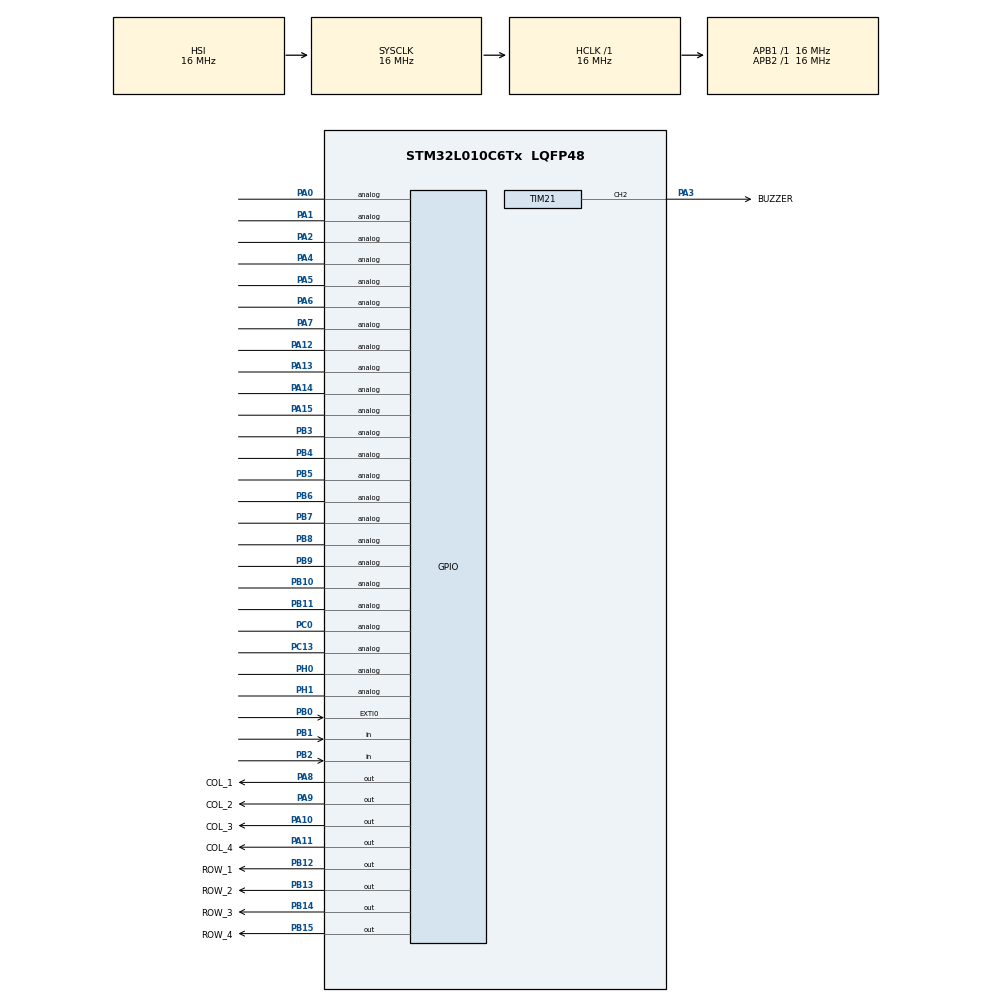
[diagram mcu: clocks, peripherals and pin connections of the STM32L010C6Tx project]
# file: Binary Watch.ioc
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Mcu.Family=STM32L0
Mcu.Name=STM32L010C6Tx
Mcu.Package=LQFP48
NVIC.EXTI0_1_IRQn=true\:0\:0\:false\:false\:true\:true\:true\:true
NVIC.RCC_IRQn=true\:0\:0\:false\:false\:true\:true\:false\:true
NVIC.RTC_IRQn=true\:0\:0\:false\:false\:true\:true\:true\:true
NVIC.TIM21_IRQn=true\:0\:0\:false\:false\:true\:true\:true\:true
NVIC.TIM2_IRQn=true\:0\:0\:false\:false\:true\:true\:true\:true
PA0.Signal=GPIO_Analog
PA1.Signal=GPIO_Analog
PA10.GPIO_Label=COL_3
PA10.GPIO_Speed=GPIO_SPEED_FREQ_HIGH
PA10.PinState=GPIO_PIN_SET
PA10.Signal=GPIO_Output
PA11.GPIO_Label=COL_4
PA11.GPIO_Speed=GPIO_SPEED_FREQ_HIGH
PA11.PinState=GPIO_PIN_SET
PA11.Signal=GPIO_Output
PA12.Signal=GPIO_Analog
PA13.Signal=GPIO_Analog
PA14.Signal=GPIO_Analog
PA15.Signal=GPIO_Analog
PA2.Signal=GPIO_Analog
PA3.GPIO_Label=BUZZER
PA3.GPIO_PuPd=GPIO_PULLDOWN
PA3.GPIO_Speed=GPIO_SPEED_FREQ_MEDIUM
PA3.Signal=S_TIM21_CH2
PA4.Signal=GPIO_Analog
PA5.Signal=GPIO_Analog
PA6.Signal=GPIO_Analog
PA7.Signal=GPIO_Analog
PA8.GPIO_Label=COL_1
PA8.GPIO_Speed=GPIO_SPEED_FREQ_HIGH
PA8.PinState=GPIO_PIN_SET
PA8.Signal=GPIO_Output
PA9.GPIO_Label=COL_2
PA9.GPIO_Speed=GPIO_SPEED_FREQ_HIGH
PA9.PinState=GPIO_PIN_SET
PA9.Signal=GPIO_Output
PB0.GPIO_ModeDefaultEXTI=GPIO_MODE_IT_FALLING
PB0.GPIO_PuPd=GPIO_PULLUP
PB0.Signal=GPXTI0
PB1.GPIO_PuPd=GPIO_PULLUP
PB1.Signal=GPIO_Input
PB10.Signal=GPIO_Analog
PB11.Signal=GPIO_Analog
PB12.GPIO_Label=ROW_1
PB12.GPIO_Speed=GPIO_SPEED_FREQ_HIGH
PB12.PinState=GPIO_PIN_RESET
PB12.Signal=GPIO_Output
PB13.GPIO_Label=ROW_2
PB13.GPIO_Speed=GPIO_SPEED_FREQ_HIGH
PB13.PinState=GPIO_PIN_RESET
PB13.Signal=GPIO_Output
PB14.GPIO_Label=ROW_3
PB14.GPIO_Speed=GPIO_SPEED_FREQ_HIGH
PB14.PinState=GPIO_PIN_RESET
PB14.Signal=GPIO_Output
PB15.GPIO_Label=ROW_4
PB15.GPIO_Speed=GPIO_SPEED_FREQ_HIGH
PB15.PinState=GPIO_PIN_RESET
PB15.Signal=GPIO_Output
PB2.GPIO_PuPd=GPIO_PULLUP
PB2.Signal=GPIO_Input
PB3.Signal=GPIO_Analog
PB4.Signal=GPIO_Analog
PB5.Signal=GPIO_Analog
PB6.Signal=GPIO_Analog
PB7.Signal=GPIO_Analog
PB8.Signal=GPIO_Analog
PB9.Signal=GPIO_Analog
PC0.Signal=GPIO_Analog
PC13-ANTI_TAMP.Signal=GPIO_Analog
PC14-OSC32_IN.Mode=LSE-External-Oscillator
PC14-OSC32_IN.Signal=RCC_OSC32_IN
PC15-OSC32_OUT.Mode=LSE-External-Oscillator
PC15-OSC32_OUT.Signal=RCC_OSC32_OUT
PH0-OSC_IN.Signal=GPIO_Analog
PH1-OSC_OUT.Signal=GPIO_Analog
ProjectManager.HeapSize=0x200
ProjectManager.StackSize=0x400
ProjectManager.TargetToolchain=STM32CubeIDE
RCC.AHBFreq_Value=16000000
RCC.APB1Freq_Value=16000000
RCC.APB1TimFreq_Value=16000000
RCC.APB2Freq_Value=16000000
RCC.APB2TimFreq_Value=16000000
RCC.HCLKFreq_Value=16000000
RCC.HSE_VALUE=8000000
RCC.HSI16_VALUE=16000000
RCC.HSI_VALUE=16000000
RCC.MSI_VALUE=2097000
RCC.RTCClockSelectionVirtual=RCC_RTCCLKSOURCE_LSE
RCC.SYSCLKFreq_VALUE=16000000
RCC.SYSCLKSource=RCC_SYSCLKSOURCE_HSI
RCC.VCOOutputFreq_Value=48000000
RTC.Alarm-Alarm\ A=RTC_ALARM_A
RTC.Date=1
RTC.Format=RTC_FORMAT_BIN
RTC.Hours=0
RTC.Minutes=0
RTC.Month=RTC_MONTH_JANUARY
RTC.Year=0
SH.S_TIM21_CH2.0=TIM21_CH2,PWM Generation2 CH2
TIM2.AutoReloadPreload=TIM_AUTORELOAD_PRELOAD_ENABLE
TIM2.Period=1000-1
TIM2.Prescaler=16-1
TIM21.AutoReloadPreload=TIM_AUTORELOAD_PRELOAD_ENABLE
TIM21.Channel-PWM\ Generation2\ CH2=TIM_CHANNEL_2
TIM21.Period=499
TIM21.Prescaler=7
VP_RTC_VS_RTC_Activate.Mode=RTC_Enabled
VP_RTC_VS_RTC_Alarm_A_Intern.Mode=Alarm A
VP_RTC_VS_RTC_Calendar.Mode=RTC_Calendar
VP_TIM21_VS_ClockSourceINT.Mode=Internal
VP_TIM2_VS_ClockSourceINT.Mode=Internal
board=custom

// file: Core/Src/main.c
/* USER CODE BEGIN Header */
/**
  ******************************************************************************
  * @file           : main.c
  * @brief          : Main program body
  ******************************************************************************
  * @attention
  *
  * Copyright (c) 2026 STMicroelectronics.
  * All rights reserved.
  *
  * This software is licensed under terms that can be found in the LICENSE file
  * in the root directory of this software component.
  * If no LICENSE file comes with this software, it is provided AS-IS.
  *
  ******************************************************************************
  */
/* USER CODE END Header */
#include "main.h"

/* USER CODE BEGIN PTD */
typedef enum
{
    SCREEN_TIME,
    SCREEN_DATE,
    SCREEN_YEAR,
	SCREEN_ALARM
} DisplayScreen_t;

typedef enum
{
    MODE_NORMAL,
    MODE_SET_HOUR,
    MODE_SET_MINUTE,
    MODE_SET_WEEKDAY,
    MODE_SET_DATE,
    MODE_SET_MONTH,
    MODE_SET_YEAR,
	MODE_SET_ALARM_HOUR,
	MODE_SET_ALARM_MINUTE
} WatchMode_t;
/* USER CODE END PTD */

/* USER CODE BEGIN PD */
uint8_t matrix[4][4]; // 2D array for display

uint8_t hour_tens;
uint8_t hour_ones;
uint8_t min_tens;
uint8_t min_ones;

uint8_t day_tens;
uint8_t day_ones;
uint8_t date_tens;
uint8_t date_ones;

uint8_t year_tens;
uint8_t year_ones;
uint8_t month_tens;
uint8_t month_ones;

uint8_t editHour;
uint8_t editMinute;
uint8_t editWeekday;
uint8_t editDate;
uint8_t editMonth;
uint8_t editYear;

uint8_t alarmHour = 0;
uint8_t alarmMinute = 0;
uint8_t editAlarmHour;
uint8_t editAlarmMinute;
uint8_t alarmEnabled = 0;
uint8_t alarmActive = 0;        // Alarm currently sounding
uint32_t alarmStartTime = 0;    // When the alarm started
uint32_t alarmTimer = 0;        // Timing between beeps
uint8_t beepCount = 0;          // 0..3 beeps in the current burst
uint8_t buzzerOn = 0;           // 0 = OFF, 1 = ON

uint32_t displayTimeout = 0;
uint8_t displayEnabled = 0;

uint32_t buttonPressTime[3] = {0};
uint8_t buttonPressed[3] = {0};
uint32_t lastButtonInterrupt[3] = {0};   // debounce timer

uint8_t settingMode = 0;
/* USER CODE END PD */

RTC_HandleTypeDef hrtc;

TIM_HandleTypeDef htim2;
TIM_HandleTypeDef htim21;

void SystemClock_Config(void);
static void MX_GPIO_Init(void);
static void MX_RTC_Init(void);
static void MX_TIM2_Init(void);
static void MX_TIM21_Init(void);

/* USER CODE BEGIN 0 */

/*
 * Store the pattern in memory matrix
 * The digit and the column where to print is sent.
 * Then the row is selected by the AND operation and check if the output is true or false (1 or 0)
 * 		digit = 6 = 0110
 * 		0110 * 1000 = 0 so the 8th bit row will turn off
 * 		0110 * 0100 = 1 so the 4th bit row will turn on
 * 		0110 * 0010 = 1 so the 2nd bit row will turn on
 * 		0110 * 0001 = 0 so the 1st bit row will turn off
 */
void SetColumnMem(uint8_t col, uint8_t digit)
{
    matrix[0][col] = (digit & 0x08) ? 1 : 0; // 8
    matrix[1][col] = (digit & 0x04) ? 1 : 0; // 4
    matrix[2][col] = (digit & 0x02) ? 1 : 0; // 2
    matrix[3][col] = (digit & 0x01) ? 1 : 0; // 1
}

// Turn off LEDs before the next pattern
void DisableAllColumns(void)
{
    HAL_GPIO_WritePin(GPIOA, COL_1_Pin, GPIO_PIN_SET);
    HAL_GPIO_WritePin(GPIOA, COL_2_Pin, GPIO_PIN_SET);
    HAL_GPIO_WritePin(GPIOA, COL_3_Pin, GPIO_PIN_SET);
    HAL_GPIO_WritePin(GPIOA, COL_4_Pin, GPIO_PIN_SET);
}

//------ Convert the patter stored in memory to GPIO ---------

/*
 * Check each matrix to see which row is to be set or reset.
 * if matrix[0][1] is set then set the row 4 pin
 */
void SetRows(uint8_t col)
{
    HAL_GPIO_WritePin(GPIOB, ROW_1_Pin,
        matrix[0][col] ? GPIO_PIN_SET : GPIO_PIN_RESET);

    HAL_GPIO_WritePin(GPIOB, ROW_2_Pin,
        matrix[1][col] ? GPIO_PIN_SET : GPIO_PIN_RESET);

    HAL_GPIO_WritePin(GPIOB, ROW_3_Pin,
        matrix[2][col] ? GPIO_PIN_SET : GPIO_PIN_RESET);

    HAL_GPIO_WritePin(GPIOB, ROW_4_Pin,
        matrix[3][col] ? GPIO_PIN_SET : GPIO_PIN_RESET);
}

// Reset the column based on the user column entry
void SetColumn(uint8_t col)
{
    switch(col)
    {
        case 0:
            HAL_GPIO_WritePin(GPIOA, COL_1_Pin, GPIO_PIN_RESET);
            break;

        case 1:
            HAL_GPIO_WritePin(GPIOA, COL_2_Pin, GPIO_PIN_RESET);
            break;

        case 2:
            HAL_GPIO_WritePin(GPIOA, COL_3_Pin, GPIO_PIN_RESET);
            break;

        case 3:
            HAL_GPIO_WritePin(GPIOA, COL_4_Pin, GPIO_PIN_RESET);
            break;
    }
}

void getTime(void)
{
	RTC_TimeTypeDef sTime;
	RTC_DateTypeDef sDate;

    /* Get the RTC current Time */
	HAL_RTC_GetTime(&hrtc, &sTime, RTC_FORMAT_BIN);
	/* Get the RTC current Date */
    HAL_RTC_GetDate(&hrtc, &sDate, RTC_FORMAT_BIN);

    hour_tens = sTime.Hours / 10;
    hour_ones = sTime.Hours % 10;
    min_tens  = sTime.Minutes / 10;
    min_ones  = sTime.Minutes % 10;

    // HH : MM
    SetColumnMem(0, hour_tens);
    SetColumnMem(1, hour_ones);
    SetColumnMem(2, min_tens);
    SetColumnMem(3, min_ones);
}

void getDate(void)
{
	RTC_TimeTypeDef sTime;
	RTC_DateTypeDef sDate;

    /* Get the RTC current Time */
	HAL_RTC_GetTime(&hrtc, &sTime, RTC_FORMAT_BIN);
	/* Get the RTC current Date */
    HAL_RTC_GetDate(&hrtc, &sDate, RTC_FORMAT_BIN);

    day_tens = sDate.WeekDay / 10;
    day_ones = sDate.WeekDay % 10;
    date_tens  = sDate.Date / 10;
    date_ones  = sDate.Date % 10;

    // WD : DD
    SetColumnMem(0, day_tens);
    SetColumnMem(1, day_ones);
    SetColumnMem(2, date_tens);
    SetColumnMem(3, date_ones);
}

void getYear(void)
{
	RTC_TimeTypeDef sTime;
	RTC_DateTypeDef sDate;

    /* Get the RTC current Time */
	HAL_RTC_GetTime(&hrtc, &sTime, RTC_FORMAT_BIN);
	/* Get the RTC current Date */
    HAL_RTC_GetDate(&hrtc, &sDate, RTC_FORMAT_BIN);

    month_tens = sDate.Month / 10;
    month_ones = sDate.Month % 10;
    year_tens  = sDate.Year / 10;
    year_ones  = sDate.Year % 10;

    // MM : YY
    SetColumnMem(0, month_tens);
    SetColumnMem(1, month_ones);
    SetColumnMem(2, year_tens);
    SetColumnMem(3, year_ones);
}

/*
 * Initialize the enum with default screen and mode and change the enum to enter the different modes.
 * See the functions below for more info
 */
DisplayScreen_t currentScreen = SCREEN_YEAR;
WatchMode_t currentMode = MODE_NORMAL;

/*
 * Entering to setting mode based on the screens
 * So if the currentScreen is SCREEN_TIME
 * then it should go into MODE_SET_HOUR to change the hour.
*/
void EnterSettingMode(void)
{
    RTC_TimeTypeDef sTime;
    RTC_DateTypeDef sDate;

    HAL_RTC_GetTime(&hrtc, &sTime, RTC_FORMAT_BIN);
    HAL_RTC_GetDate(&hrtc, &sDate, RTC_FORMAT_BIN);

    editHour = sTime.Hours;
    editMinute = sTime.Minutes;

    editWeekday = sDate.WeekDay;
    editDate = sDate.Date;

    editMonth = sDate.Month;
    editYear = sDate.Year;

    switch(currentScreen) // Check the currentScreen typedef and enter the appropriate setting modes
    {
        case SCREEN_TIME:
            currentMode = MODE_SET_HOUR; // Change the Hours
            break;

        case SCREEN_DATE:
            currentMode = MODE_SET_WEEKDAY; // Change the Weekday
            break;

        case SCREEN_YEAR:
            currentMode = MODE_SET_MONTH; // Change the month
            break;

        case SCREEN_ALARM:

            editAlarmHour = alarmHour;
            editAlarmMinute = alarmMinute;
            currentMode = MODE_SET_ALARM_HOUR;
            break;
    }
}

/*
 * Once we are inside setting a particular mode then we need to change the mode
 * to set the other field.
 * So after setting the hour we need to set the minutes.
 */
void NextField(void)
{
    switch(currentMode) // Check the currentMode typedef and go into the next mode to change the num
    {
        case MODE_SET_HOUR: // is current mode is in setting hour
            currentMode = MODE_SET_MINUTE; // then enter setting minute once this function is called
            break;
        case MODE_SET_MINUTE:
            currentMode = MODE_SET_HOUR;
            break;

        case MODE_SET_WEEKDAY:
            currentMode = MODE_SET_DATE;
            break;
        case MODE_SET_DATE:
            currentMode = MODE_SET_WEEKDAY;
            break;

        case MODE_SET_MONTH:
            currentMode = MODE_SET_YEAR;
            break;
        case MODE_SET_YEAR:
            currentMode = MODE_SET_MONTH;
            break;

        case MODE_SET_ALARM_HOUR:
            currentMode = MODE_SET_ALARM_MINUTE;
            break;
        case MODE_SET_ALARM_MINUTE:
            currentMode = MODE_SET_ALARM_HOUR;
            break;

        default:
            currentMode = MODE_NORMAL;
            break;
    }
}

/*
 * This function is to increment the values in each and every mode based on the
 * current mode.
 *
 * SCREEN_TIME:
 * 			MODE_SET_HOUR
 * 			MODE_SET_MINUTE
 * SCREEN_DAY:
 * 			MODE_SET_WEEKDAY
 * 			MODE_SET_DAY
 * SCREEN_YEAR:
 * 			MODE_SET_MONTH
 * 			MODE_SET_YEAR
 *
 * All the changes to the time is done to temp variables.
 */

void IncrementCurrentField(void)
{
    switch(currentMode)
    {
        case MODE_SET_HOUR:

            editHour++;

            if(editHour > 23)
                editHour = 0;

            break;

        case MODE_SET_MINUTE:

            editMinute++;

            if(editMinute > 59)
                editMinute = 0;

            break;

        case MODE_SET_WEEKDAY:

            editWeekday++;

            if(editWeekday > 7)
                editWeekday = 1;

            break;

        case MODE_SET_DATE:

            editDate++;

            if(editDate > 31)
                editDate = 1;

            break;

        case MODE_SET_MONTH:

            editMonth++;

            if(editMonth > 12)
                editMonth = 1;

            break;

        case MODE_SET_YEAR:

            editYear++;

            if(editYear > 99)
                editYear = 0;

            break;

        case MODE_SET_ALARM_HOUR:

            editAlarmHour++;

            if(editAlarmHour > 23)
            {
                editAlarmHour = 0;
            }

            break;

        case MODE_SET_ALARM_MINUTE:

            editAlarmMinute++;

            if(editAlarmMinute > 59)
            {
                editAlarmMinute = 0;
            }

            break;

        default:
            break;
    }
}

void ShowSettingValue(void)
{
    switch(currentScreen)
    {
        case SCREEN_TIME:

            SetColumnMem(0, editHour / 10);
            SetColumnMem(1, editHour % 10);
            SetColumnMem(2, editMinute / 10);
            SetColumnMem(3, editMinute % 10);

            break;

        case SCREEN_DATE:

            SetColumnMem(0, editWeekday / 10);
            SetColumnMem(1, editWeekday % 10);
            SetColumnMem(2, editDate / 10);
            SetColumnMem(3, editDate % 10);

            break;

        case SCREEN_YEAR:

            SetColumnMem(0, editMonth / 10);
            SetColumnMem(1, editMonth % 10);
            SetColumnMem(2, editYear / 10);
            SetColumnMem(3, editYear % 10);

            break;

        case SCREEN_ALARM:

            SetColumnMem(0, editAlarmHour / 10);
            SetColumnMem(1, editAlarmHour % 10);
            SetColumnMem(2, editAlarmMinute / 10);
            SetColumnMem(3, editAlarmMinute % 10);

            break;
    }
}

void beep()
{

    HAL_TIM_PWM_Start(&htim21, TIM_CHANNEL_2);

    HAL_Delay(20);

    HAL_TIM_PWM_Stop(&htim21, TIM_CHANNEL_2);
}

void getAlarm(void)
{
    SetColumnMem(0, alarmHour / 10);
    SetColumnMem(1, alarmHour % 10);
    SetColumnMem(2, alarmMinute / 10);
    SetColumnMem(3, alarmMinute % 10);

    if(alarmEnabled)
    {
        matrix[0][0] = 1;
    }
    else
    {
        matrix[0][0] = 0;
    }
}
/* USER CODE END 0 */

int main(void)
{

  /* MCU Configuration--------------------------------------------------------*/

  /* Reset of all peripherals, Initializes the Flash interface and the Systick. */
  HAL_Init();

  /* Configure the system clock */
  SystemClock_Config();

  /* Initialize all configured peripherals */
  MX_GPIO_Init();
  MX_RTC_Init();
  MX_TIM2_Init();
  MX_TIM21_Init();
  /* USER CODE BEGIN 2 */
  HAL_TIM_Base_Start_IT(&htim2);
  __HAL_TIM_SET_COMPARE(&htim21, TIM_CHANNEL_2, 50);

  // read the alarm  from eeprom
  alarmHour = *(uint8_t *)0x08080000;
  alarmMinute = *(uint8_t *)0x08080001;
//beep();
//  __HAL_TIM_SET_COMPARE(&htim21, TIM_CHANNEL_2, 250);
//  HAL_TIM_PWM_Start(&htim21, TIM_CHANNEL_2);
  /* USER CODE END 2 */

  /* Infinite loop */
  /* USER CODE BEGIN WHILE */
  while (1)
  {
	  if(alarmActive && buttonPressed[0])
	  {
	      alarmActive = 0;
	      HAL_TIM_PWM_Stop(&htim21, TIM_CHANNEL_2);
	      buttonPressed[0] = 0;
	  }

	  if(alarmActive)
	  {
	      uint32_t now = HAL_GetTick();

	      // Stop after 20 seconds
	      if((now - alarmStartTime) >= 20000)
	      {
	          alarmActive = 0;
	          HAL_TIM_PWM_Stop(&htim21, TIM_CHANNEL_2);
	      }
	      else
	      {
	          if(buzzerOn)
	          {
	              // ON for 80ms
	              if((now - alarmTimer) >= 80)
	              {
	                  HAL_TIM_PWM_Stop(&htim21, TIM_CHANNEL_2);

	                  buzzerOn = 0;
	                  alarmTimer = now;

	                  beepCount++;
	              }
	          }
	          else
	          {
	              if(beepCount < 4)
	              {
	                  // OFF between beeps (80ms)
	                  if((now - alarmTimer) >= 80)
	                  {
	                      HAL_TIM_PWM_Start(&htim21, TIM_CHANNEL_2);

	                      buzzerOn = 1;
	                      alarmTimer = now;
	                  }
	              }
	              else
	              {
	                  // Pause after 4 beeps (250ms)
	                  if((now - alarmTimer) >= 500)
	                  {
	                      beepCount = 0;

	                      HAL_TIM_PWM_Start(&htim21, TIM_CHANNEL_2);

	                      buzzerOn = 1;
	                      alarmTimer = now;
	                  }
	              }
	          }
	      }
	  }

	  if(currentMode == MODE_NORMAL)
	  {
	      if(HAL_GPIO_ReadPin(GPIOB, GPIO_PIN_2) == GPIO_PIN_RESET)
	      {
	          uint32_t now = HAL_GetTick();

	          if(buttonPressed[2] == 0 &&
	             (now - lastButtonInterrupt[2]) > 100)
	          {
	              if(currentScreen != SCREEN_ALARM)
	              {
	                  currentScreen = SCREEN_ALARM;
	                  getAlarm();
	              }
	              else
	              {
	                  currentScreen = SCREEN_TIME;
	                  getTime();
	              }

	              displayEnabled = 1;
	              displayTimeout = HAL_GetTick();

	              beep();

	              buttonPressed[2] = 1;
	              lastButtonInterrupt[2] = now;
	          }
	      }
	      else
	      {
	          buttonPressed[2] = 0;
	      }
	  }

	  if(currentMode == MODE_NORMAL && currentScreen == SCREEN_ALARM)
	  {
	      if(HAL_GPIO_ReadPin(GPIOB, GPIO_PIN_1) == GPIO_PIN_RESET)
	      {
	          uint32_t now = HAL_GetTick();

	          if(buttonPressed[1] == 0 &&
	              (now - lastButtonInterrupt[1]) > 100)
	          {
	              alarmEnabled = !alarmEnabled;

	              if(alarmEnabled)
	              {
	                  RTC_AlarmTypeDef sAlarm = {0};

	                  sAlarm.AlarmTime.Hours = alarmHour;
	                  sAlarm.AlarmTime.Minutes = alarmMinute;
	                  sAlarm.AlarmTime.Seconds = 0;
	                  sAlarm.AlarmTime.SubSeconds = 0;
	                  sAlarm.AlarmTime.DayLightSaving = RTC_DAYLIGHTSAVING_NONE;
	                  sAlarm.AlarmTime.StoreOperation = RTC_STOREOPERATION_RESET;
	                  sAlarm.AlarmMask = RTC_ALARMMASK_DATEWEEKDAY;
	                  sAlarm.AlarmSubSecondMask = RTC_ALARMSUBSECONDMASK_ALL;
	                  sAlarm.AlarmDateWeekDaySel = RTC_ALARMDATEWEEKDAYSEL_DATE;
	                  sAlarm.AlarmDateWeekDay = 1;
	                  sAlarm.Alarm = RTC_ALARM_A;

	                  HAL_RTC_SetAlarm_IT(&hrtc, &sAlarm, RTC_FORMAT_BIN);

	                  matrix[0][0] = 1;
	              }
	              else
	              {
	                  HAL_RTC_DeactivateAlarm(&hrtc, RTC_ALARM_A);
	                  matrix[0][0] = 0;
	              }

	              beep();

	              buttonPressed[1] = 1;
	              lastButtonInterrupt[1] = now;
	          }
	      }
	      else
	      {
	          buttonPressed[1] = 0;
	      }
	  }

	  if(currentMode != MODE_NORMAL)
	  {
	      displayEnabled = 1;
	      ShowSettingValue();

	      if(HAL_GPIO_ReadPin(GPIOB, GPIO_PIN_1) == GPIO_PIN_RESET)
	      {
	          uint32_t now = HAL_GetTick();

	          if(buttonPressed[1] == 0 &&
	             (now - lastButtonInterrupt[1]) > 100)
	          {
	              IncrementCurrentField();

	              buttonPressed[1] = 1;
	              lastButtonInterrupt[1] = now;
	          }
	      }
	      else
	      {
	          buttonPressed[1] = 0;
	      }

	      if(HAL_GPIO_ReadPin(GPIOB, GPIO_PIN_2) == GPIO_PIN_RESET)
	      {
	          uint32_t now = HAL_GetTick();

	          if(buttonPressed[2] == 0 &&
	             (now - lastButtonInterrupt[2]) > 50)
	          {
	              NextField();
	              beep();

	              buttonPressed[2] = 1;
	              lastButtonInterrupt[2] = now;
	          }
	      }
	      else
	      {
	          buttonPressed[2] = 0;
	      }

	      if(buttonPressed[0])
	      {
	          if(HAL_GPIO_ReadPin(GPIOB, GPIO_PIN_0) == GPIO_PIN_RESET)
	          {
	              if((HAL_GetTick() - buttonPressTime[0]) >= 1000)
	              {
	            	  RTC_TimeTypeDef sTime;
	            	  RTC_DateTypeDef sDate;

	            	  HAL_RTC_GetTime(&hrtc, &sTime, RTC_FORMAT_BIN);
	            	  HAL_RTC_GetDate(&hrtc, &sDate, RTC_FORMAT_BIN);

	            	  sTime.Hours = editHour;
	            	  sTime.Minutes = editMinute;

	            	  sDate.WeekDay = editWeekday;
	            	  sDate.Date = editDate;
	            	  sDate.Month = editMonth;
	            	  sDate.Year = editYear;

	            	  HAL_RTC_SetTime(&hrtc, &sTime, RTC_FORMAT_BIN);
	            	  HAL_RTC_SetDate(&hrtc, &sDate, RTC_FORMAT_BIN);

	            	  if(currentScreen == SCREEN_ALARM)
	            	  {
	            	      alarmHour = editAlarmHour;
	            	      alarmMinute = editAlarmMinute;

	            	      // save into eeprom so the memory retains even after powerloss
	            	      HAL_FLASHEx_DATAEEPROM_Unlock();

	            	      HAL_FLASHEx_DATAEEPROM_Program(FLASH_TYPEPROGRAMDATA_BYTE,
	            	                                     0x08080000,
	            	                                     alarmHour);

	            	      HAL_FLASHEx_DATAEEPROM_Program(FLASH_TYPEPROGRAMDATA_BYTE,
	            	                                     0x08080001,
	            	                                     alarmMinute);

	            	      HAL_FLASHEx_DATAEEPROM_Lock();
	            	  }

            	      currentMode = MODE_NORMAL;
            	      settingMode = 0;

            	      buttonPressed[0] = 0;
            	      buttonPressTime[0] = 0;

            	      displayEnabled = 1;
            	      displayTimeout = HAL_GetTick();

            	      beep();
	              }
	          }
	      }
	      continue;
	  }

	  if(buttonPressed[0])
	  {
	      if(HAL_GPIO_ReadPin(GPIOB, GPIO_PIN_0) == GPIO_PIN_RESET)
	      {
	    	  if(displayEnabled){
		          if((HAL_GetTick() - buttonPressTime[0]) >= 1000)
		          {
		              buttonPressed[0] = 0;   // prevent repeated entry
		              settingMode = 1;
		              beep();
		              EnterSettingMode();
		          }
	    	  }
	      }
	      else
	      {

	    	  displayEnabled = 1;
	          displayTimeout = HAL_GetTick();

	          switch(currentScreen)
	          {
	          	  case SCREEN_TIME:
	          		  currentScreen = SCREEN_DATE;
	                  getDate();
	                  //beep();
	                  break;

	              case SCREEN_DATE:
	                  currentScreen = SCREEN_YEAR;
	                  getYear();
	                  //beep();
	                  break;

	              case SCREEN_YEAR:
	                  currentScreen = SCREEN_TIME;
	                  getTime();
	                  beep();
	                  break;

	              case SCREEN_ALARM:
	                  // Do nothing.
	                  // PB0 press has no function on the alarm screen.
	                  break;
	          }
	          buttonPressed[0] = 0;
	      }
	  }

	  // Sleep timeout only in normal mode, in setting mode disable timeout

	  if(currentMode == MODE_NORMAL)
	  {
		  if(displayEnabled)
		  {
			  if((HAL_GetTick() - displayTimeout) >= 5000)
			  {
				  displayEnabled = 0;
				  DisableAllColumns();
				  currentScreen = SCREEN_YEAR; // SHOW SCREEN_TIME AFTER WAKEUP. SEE EXTI_CALLBACK() FOR MORE INFO

				  HAL_SuspendTick();

				  HAL_TIM_Base_Stop_IT(&htim2);
				  HAL_TIM_PWM_Stop(&htim21, TIM_CHANNEL_2);

				  __HAL_RCC_TIM2_CLK_DISABLE();
				  __HAL_RCC_TIM21_CLK_DISABLE();

				  HAL_PWREx_EnableUltraLowPower();
				  HAL_PWREx_EnableFastWakeUp();

				  HAL_PWR_EnterSTOPMode(PWR_LOWPOWERREGULATOR_ON,PWR_STOPENTRY_WFI);

				  // RESUME CPU

				  SystemClock_Config();

				  HAL_ResumeTick();

				  __HAL_RCC_TIM2_CLK_ENABLE();
				  __HAL_RCC_TIM21_CLK_ENABLE();

				  HAL_TIM_Base_Start_IT(&htim2);
			  }
		  }
	  }
    /* USER CODE END WHILE */

  }
}

void SystemClock_Config(void)
{
  RCC_OscInitTypeDef RCC_OscInitStruct = {0};
  RCC_ClkInitTypeDef RCC_ClkInitStruct = {0};
  RCC_PeriphCLKInitTypeDef PeriphClkInit = {0};

  /** Configure the main internal regulator output voltage
  */
  __HAL_PWR_VOLTAGESCALING_CONFIG(PWR_REGULATOR_VOLTAGE_SCALE1);

  /** Configure LSE Drive Capability
  */
  HAL_PWR_EnableBkUpAccess();
  __HAL_RCC_LSEDRIVE_CONFIG(RCC_LSEDRIVE_LOW);

  /** Initializes the RCC Oscillators according to the specified parameters
  * in the RCC_OscInitTypeDef structure.
  */
  RCC_OscInitStruct.OscillatorType = RCC_OSCILLATORTYPE_HSI|RCC_OSCILLATORTYPE_LSE;
  RCC_OscInitStruct.LSEState = RCC_LSE_ON;
  RCC_OscInitStruct.HSIState = RCC_HSI_ON;
  RCC_OscInitStruct.HSICalibrationValue = RCC_HSICALIBRATION_DEFAULT;
  RCC_OscInitStruct.PLL.PLLState = RCC_PLL_NONE;
  if (HAL_RCC_OscConfig(&RCC_OscInitStruct) != HAL_OK)
  {
    Error_Handler();
  }

  /** Initializes the CPU, AHB and APB buses clocks
  */
  RCC_ClkInitStruct.ClockType = RCC_CLOCKTYPE_HCLK|RCC_CLOCKTYPE_SYSCLK
                              |RCC_CLOCKTYPE_PCLK1|RCC_CLOCKTYPE_PCLK2;
  RCC_ClkInitStruct.SYSCLKSource = RCC_SYSCLKSOURCE_HSI;
  RCC_ClkInitStruct.AHBCLKDivider = RCC_SYSCLK_DIV1;
  RCC_ClkInitStruct.APB1CLKDivider = RCC_HCLK_DIV1;
  RCC_ClkInitStruct.APB2CLKDivider = RCC_HCLK_DIV1;

  if (HAL_RCC_ClockConfig(&RCC_ClkInitStruct, FLASH_LATENCY_0) != HAL_OK)
  {
    Error_Handler();
  }
  PeriphClkInit.PeriphClockSelection = RCC_PERIPHCLK_RTC;
  PeriphClkInit.RTCClockSelection = RCC_RTCCLKSOURCE_LSE;
  if (HAL_RCCEx_PeriphCLKConfig(&PeriphClkInit) != HAL_OK)
  {
    Error_Handler();
  }
}

static void MX_RTC_Init(void)
{

  RTC_TimeTypeDef sTime = {0};
  RTC_DateTypeDef sDate = {0};
  RTC_AlarmTypeDef sAlarm = {0};

  /** Initialize RTC Only
  */
  hrtc.Instance = RTC;
  hrtc.Init.HourFormat = RTC_HOURFORMAT_24;
  hrtc.Init.AsynchPrediv = 127;
  hrtc.Init.SynchPrediv = 255;
  hrtc.Init.OutPut = RTC_OUTPUT_DISABLE;
  hrtc.Init.OutPutRemap = RTC_OUTPUT_REMAP_NONE;
  hrtc.Init.OutPutPolarity = RTC_OUTPUT_POLARITY_HIGH;
  hrtc.Init.OutPutType = RTC_OUTPUT_TYPE_OPENDRAIN;
  if (HAL_RTC_Init(&hrtc) != HAL_OK)
  {
    Error_Handler();
  }

  /** Initialize RTC and set the Time and Date
  */
  sTime.Hours = 0;
  sTime.Minutes = 0;
  sTime.Seconds = 0;
  sTime.DayLightSaving = RTC_DAYLIGHTSAVING_NONE;
  sTime.StoreOperation = RTC_STOREOPERATION_RESET;
  if (HAL_RTC_SetTime(&hrtc, &sTime, RTC_FORMAT_BIN) != HAL_OK)
  {
    Error_Handler();
  }
  sDate.WeekDay = RTC_WEEKDAY_MONDAY;
  sDate.Month = RTC_MONTH_JANUARY;
  sDate.Date = 1;
  sDate.Year = 0;

  if (HAL_RTC_SetDate(&hrtc, &sDate, RTC_FORMAT_BIN) != HAL_OK)
  {
    Error_Handler();
  }

  /** Enable the Alarm A
  */
  sAlarm.AlarmTime.Hours = 0;
  sAlarm.AlarmTime.Minutes = 0;
  sAlarm.AlarmTime.Seconds = 0;
  sAlarm.AlarmTime.SubSeconds = 0;
  sAlarm.AlarmTime.DayLightSaving = RTC_DAYLIGHTSAVING_NONE;
  sAlarm.AlarmTime.StoreOperation = RTC_STOREOPERATION_RESET;
  sAlarm.AlarmMask = RTC_ALARMMASK_NONE;
  sAlarm.AlarmSubSecondMask = RTC_ALARMSUBSECONDMASK_ALL;
  sAlarm.AlarmDateWeekDaySel = RTC_ALARMDATEWEEKDAYSEL_DATE;
  sAlarm.AlarmDateWeekDay = 1;
  sAlarm.Alarm = RTC_ALARM_A;
  if (HAL_RTC_SetAlarm_IT(&hrtc, &sAlarm, RTC_FORMAT_BIN) != HAL_OK)
  {
    Error_Handler();
  }

}

static void MX_TIM2_Init(void)
{

  TIM_ClockConfigTypeDef sClockSourceConfig = {0};
  TIM_MasterConfigTypeDef sMasterConfig = {0};

  htim2.Instance = TIM2;
  htim2.Init.Prescaler = 16-1;
  htim2.Init.CounterMode = TIM_COUNTERMODE_UP;
  htim2.Init.Period = 1000-1;
  htim2.Init.ClockDivision = TIM_CLOCKDIVISION_DIV1;
  htim2.Init.AutoReloadPreload = TIM_AUTORELOAD_PRELOAD_ENABLE;
  if (HAL_TIM_Base_Init(&htim2) != HAL_OK)
  {
    Error_Handler();
  }
  sClockSourceConfig.ClockSource = TIM_CLOCKSOURCE_INTERNAL;
  if (HAL_TIM_ConfigClockSource(&htim2, &sClockSourceConfig) != HAL_OK)
  {
    Error_Handler();
  }
  sMasterConfig.MasterOutputTrigger = TIM_TRGO_RESET;
  sMasterConfig.MasterSlaveMode = TIM_MASTERSLAVEMODE_DISABLE;
  if (HAL_TIMEx_MasterConfigSynchronization(&htim2, &sMasterConfig) != HAL_OK)
  {
    Error_Handler();
  }

}

static void MX_TIM21_Init(void)
{

  TIM_ClockConfigTypeDef sClockSourceConfig = {0};
  TIM_MasterConfigTypeDef sMasterConfig = {0};
  TIM_OC_InitTypeDef sConfigOC = {0};

  htim21.Instance = TIM21;
  htim21.Init.Prescaler = 7;
  htim21.Init.CounterMode = TIM_COUNTERMODE_UP;
  htim21.Init.Period = 499;
  htim21.Init.ClockDivision = TIM_CLOCKDIVISION_DIV1;
  htim21.Init.AutoReloadPreload = TIM_AUTORELOAD_PRELOAD_ENABLE;
  if (HAL_TIM_Base_Init(&htim21) != HAL_OK)
  {
    Error_Handler();
  }
  sClockSourceConfig.ClockSource = TIM_CLOCKSOURCE_INTERNAL;
  if (HAL_TIM_ConfigClockSource(&htim21, &sClockSourceConfig) != HAL_OK)
  {
    Error_Handler();
  }
  if (HAL_TIM_PWM_Init(&htim21) != HAL_OK)
  {
    Error_Handler();
  }
  sMasterConfig.MasterOutputTrigger = TIM_TRGO_RESET;
  sMasterConfig.MasterSlaveMode = TIM_MASTERSLAVEMODE_DISABLE;
  if (HAL_TIMEx_MasterConfigSynchronization(&htim21, &sMasterConfig) != HAL_OK)
  {
    Error_Handler();
  }
  sConfigOC.OCMode = TIM_OCMODE_PWM1;
  sConfigOC.Pulse = 0;
  sConfigOC.OCPolarity = TIM_OCPOLARITY_HIGH;
  sConfigOC.OCFastMode = TIM_OCFAST_DISABLE;
  if (HAL_TIM_PWM_ConfigChannel(&htim21, &sConfigOC, TIM_CHANNEL_2) != HAL_OK)
  {
    Error_Handler();
  }
  HAL_TIM_MspPostInit(&htim21);

}

static void MX_GPIO_Init(void)
{
  GPIO_InitTypeDef GPIO_InitStruct = {0};

  /* GPIO Ports Clock Enable */
  __HAL_RCC_GPIOC_CLK_ENABLE();
  __HAL_RCC_GPIOH_CLK_ENABLE();
  __HAL_RCC_GPIOA_CLK_ENABLE();
  __HAL_RCC_GPIOB_CLK_ENABLE();

  /*Configure GPIO pin Output Level */
  HAL_GPIO_WritePin(GPIOB, ROW_1_Pin|ROW_2_Pin|ROW_3_Pin|ROW_4_Pin, GPIO_PIN_RESET);

  /*Configure GPIO pin Output Level */
  HAL_GPIO_WritePin(GPIOA, COL_1_Pin|COL_2_Pin|COL_3_Pin|COL_4_Pin, GPIO_PIN_SET);

  /*Configure GPIO pins : PC0 PC13 */
  GPIO_InitStruct.Pin = GPIO_PIN_0|GPIO_PIN_13;
  GPIO_InitStruct.Mode = GPIO_MODE_ANALOG;
  GPIO_InitStruct.Pull = GPIO_NOPULL;
  HAL_GPIO_Init(GPIOC, &GPIO_InitStruct);

  /*Configure GPIO pins : PH0 PH1 */
  GPIO_InitStruct.Pin = GPIO_PIN_0|GPIO_PIN_1;
  GPIO_InitStruct.Mode = GPIO_MODE_ANALOG;
  GPIO_InitStruct.Pull = GPIO_NOPULL;
  HAL_GPIO_Init(GPIOH, &GPIO_InitStruct);

  /*Configure GPIO pins : PA0 PA1 PA2 PA4
                           PA5 PA6 PA7 PA12
                           PA13 PA14 PA15 */
  GPIO_InitStruct.Pin = GPIO_PIN_0|GPIO_PIN_1|GPIO_PIN_2|GPIO_PIN_4
                          |GPIO_PIN_5|GPIO_PIN_6|GPIO_PIN_7|GPIO_PIN_12
                          |GPIO_PIN_13|GPIO_PIN_14|GPIO_PIN_15;
  GPIO_InitStruct.Mode = GPIO_MODE_ANALOG;
  GPIO_InitStruct.Pull = GPIO_NOPULL;
  HAL_GPIO_Init(GPIOA, &GPIO_InitStruct);

  /*Configure GPIO pin : PB0 */
  GPIO_InitStruct.Pin = GPIO_PIN_0;
  GPIO_InitStruct.Mode = GPIO_MODE_IT_FALLING;
  GPIO_InitStruct.Pull = GPIO_PULLUP;
  HAL_GPIO_Init(GPIOB, &GPIO_InitStruct);

  /*Configure GPIO pins : PB1 PB2 */
  GPIO_InitStruct.Pin = GPIO_PIN_1|GPIO_PIN_2;
  GPIO_InitStruct.Mode = GPIO_MODE_INPUT;
  GPIO_InitStruct.Pull = GPIO_PULLUP;
  HAL_GPIO_Init(GPIOB, &GPIO_InitStruct);

  /*Configure GPIO pins : PB10 PB11 PB3 PB4
                           PB5 PB6 PB7 PB8
                           PB9 */
  GPIO_InitStruct.Pin = GPIO_PIN_10|GPIO_PIN_11|GPIO_PIN_3|GPIO_PIN_4
                          |GPIO_PIN_5|GPIO_PIN_6|GPIO_PIN_7|GPIO_PIN_8
                          |GPIO_PIN_9;
  GPIO_InitStruct.Mode = GPIO_MODE_ANALOG;
  GPIO_InitStruct.Pull = GPIO_NOPULL;
  HAL_GPIO_Init(GPIOB, &GPIO_InitStruct);

  /*Configure GPIO pins : ROW_1_Pin ROW_2_Pin ROW_3_Pin ROW_4_Pin */
  GPIO_InitStruct.Pin = ROW_1_Pin|ROW_2_Pin|ROW_3_Pin|ROW_4_Pin;
  GPIO_InitStruct.Mode = GPIO_MODE_OUTPUT_PP;
  GPIO_InitStruct.Pull = GPIO_NOPULL;
  GPIO_InitStruct.Speed = GPIO_SPEED_FREQ_HIGH;
  HAL_GPIO_Init(GPIOB, &GPIO_InitStruct);

  /*Configure GPIO pins : COL_1_Pin COL_2_Pin COL_3_Pin COL_4_Pin */
  GPIO_InitStruct.Pin = COL_1_Pin|COL_2_Pin|COL_3_Pin|COL_4_Pin;
  GPIO_InitStruct.Mode = GPIO_MODE_OUTPUT_PP;
  GPIO_InitStruct.Pull = GPIO_NOPULL;
  GPIO_InitStruct.Speed = GPIO_SPEED_FREQ_HIGH;
  HAL_GPIO_Init(GPIOA, &GPIO_InitStruct);

  /* EXTI interrupt init*/
  HAL_NVIC_SetPriority(EXTI0_1_IRQn, 0, 0);
  HAL_NVIC_EnableIRQ(EXTI0_1_IRQn);

}

/* USER CODE BEGIN 4 */
volatile uint8_t currentColumn = 0;

void HAL_TIM_PeriodElapsedCallback(TIM_HandleTypeDef *htim)
{
    if(htim->Instance == TIM2)
    {
        if(!displayEnabled)
        {
            DisableAllColumns();
            return;
        }

        DisableAllColumns();

        SetRows(currentColumn);

        SetColumn(currentColumn);

        currentColumn++;

        if(currentColumn >= 4)
        {
            currentColumn = 0;
        }
    }
}

void HAL_GPIO_EXTI_Callback(uint16_t GPIO_Pin)
{
    if(GPIO_Pin == GPIO_PIN_0)
    {
        uint32_t now = HAL_GetTick();

        // 100ms debounce
        if((now - lastButtonInterrupt[0]) < 100)
            return;

        lastButtonInterrupt[0] = now;

        buttonPressTime[0] = now;
        buttonPressed[0] = 1;
    }
}

void HAL_RTC_AlarmAEventCallback(RTC_HandleTypeDef *hrtc)
{
    displayEnabled = 1;
    displayTimeout = HAL_GetTick();

    alarmActive = 1;

    alarmStartTime = HAL_GetTick();
    alarmTimer = HAL_GetTick();

    beepCount = 0;
    buzzerOn = 0;
    //beep();
}

/* USER CODE END 4 */

void Error_Handler(void)
{
  __disable_irq();
  while (1)
  {
  }
}
